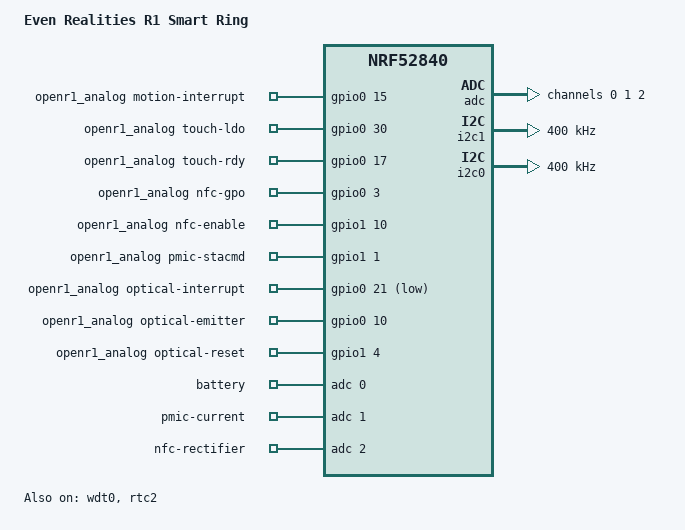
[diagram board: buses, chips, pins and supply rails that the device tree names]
/* SPDX-License-Identifier: Apache-2.0 */

/dts-v1/;
#include <nordic/nrf52840_qiaa.dtsi>
#include <zephyr/dt-bindings/adc/adc.h>
#include <zephyr/dt-bindings/adc/nrf-adc.h>
#include <zephyr/dt-bindings/gpio/gpio.h>
#include <zephyr/dt-bindings/i2c/i2c.h>
#include "openr1_nrf52840-pinctrl.dtsi"

/ {
	model = "Even Realities R1 Smart Ring";
	compatible = "openr1,r1-nrf52840";

	chosen {
		zephyr,sram = &sram0;
		zephyr,flash = &flash0;
		zephyr,code-partition = &slot0_partition;
		zephyr,settings-partition = &settings_partition;
	};

	aliases {
		watchdog0 = &wdt0;
	};

	openr1_analog: openr1_motion: openr1_touch: openr1_nfc: openr1_power: openr1_optical: zephyr,user {
		io-channels = <&adc 0>, <&adc 1>, <&adc 2>;
		io-channel-names = "battery", "pmic-current", "nfc-rectifier";
		motion-bus = <&i2c1>;
		motion-interrupt-gpios = <&gpio0 15 GPIO_ACTIVE_HIGH>;
		touch-bus = <&i2c0>;
		touch-ldo-gpios = <&gpio0 30 GPIO_ACTIVE_HIGH>;
		touch-rdy-gpios = <&gpio0 17 GPIO_ACTIVE_HIGH>;
		nfc-bus = <&i2c1>;
		nfc-gpo-gpios = <&gpio0 3 GPIO_ACTIVE_HIGH>;
		nfc-enable-gpios = <&gpio1 10 GPIO_ACTIVE_HIGH>;
		pmic-stacmd-gpios = <&gpio1 1 GPIO_ACTIVE_HIGH>;
		optical-interrupt-gpios = <&gpio0 21 GPIO_ACTIVE_LOW>;
		optical-emitter-gpios = <&gpio0 10 GPIO_ACTIVE_HIGH>;
		optical-reset-gpios = <&gpio1 4 GPIO_ACTIVE_HIGH>;
	};
};
&uicr {
	gpio-as-nreset;
};

&gpiote {
	status = "okay";
};

&wdt0 {
	status = "okay";
};

/* RTC0 is owned by the Bluetooth controller and RTC1 by the Zephyr system
 * clock. The recovered `sys rtc` service uses the remaining RTC2 at 8 Hz. */
&rtc2 {
	status = "okay";
	prescaler = <4095>;
	interrupts = <36 6>;
};

&gpio0 {
	status = "okay";
};

&gpio1 {
	status = "okay";
};

&adc {
	status = "okay";
	#address-cells = <1>;
	#size-cells = <0>;

	channel@0 {
		reg = <0>;
		zephyr,gain = "ADC_GAIN_1_2";
		zephyr,reference = "ADC_REF_INTERNAL";
		zephyr,acquisition-time = <ADC_ACQ_TIME(ADC_ACQ_TIME_MICROSECONDS, 40)>;
		zephyr,input-positive = <NRF_SAADC_AIN5>; /* P0.29: battery */
		zephyr,resolution = <12>;
		zephyr,oversampling = <0>;
	};

	channel@1 {
		reg = <1>;
		zephyr,gain = "ADC_GAIN_1_2";
		zephyr,reference = "ADC_REF_INTERNAL";
		zephyr,acquisition-time = <ADC_ACQ_TIME(ADC_ACQ_TIME_MICROSECONDS, 40)>;
		zephyr,input-positive = <NRF_SAADC_AIN3>; /* P0.05: PMIC current */
		zephyr,resolution = <12>;
		zephyr,oversampling = <0>;
	};

	channel@2 {
		reg = <2>;
		zephyr,gain = "ADC_GAIN_1_6";
		zephyr,reference = "ADC_REF_INTERNAL";
		zephyr,acquisition-time = <ADC_ACQ_TIME(ADC_ACQ_TIME_MICROSECONDS, 10)>;
		zephyr,input-positive = <NRF_SAADC_AIN2>; /* P0.04: NFC rectifier */
		zephyr,resolution = <12>;
		zephyr,oversampling = <0>;
	};
};

&i2c1 {
	compatible = "nordic,nrf-twim";
	status = "okay";
	clock-frequency = <I2C_BITRATE_FAST>;
	pinctrl-0 = <&i2c1_default>;
	pinctrl-1 = <&i2c1_sleep>;
	pinctrl-names = "default", "sleep";
};

&i2c0 {
	compatible = "nordic,nrf-twim";
	status = "okay";
	clock-frequency = <I2C_BITRATE_FAST>;
	pinctrl-0 = <&i2c0_default>;
	pinctrl-1 = <&i2c0_sleep>;
	pinctrl-names = "default", "sleep";
};

&flash0 {
	partitions {
		compatible = "fixed-partitions";
		#address-cells = <1>;
		#size-cells = <1>;

		boot_partition: partition@0 {
			label = "mcuboot";
			reg = <0x00000000 0x00027000>;
		};

		slot0_partition: partition@27000 {
			label = "image-0";
			reg = <0x00027000 0x000aa000>;
		};

		settings_partition: partition@d1000 {
			label = "openr1-settings";
			reg = <0x000d1000 0x00003000>;
		};

		openr1_data_partition: partition@d4000 {
			label = "openr1-data";
			reg = <0x000d4000 0x00024000>;
		};

		migration_reserve_partition: partition@f8000 {
			label = "retail-boot-migration-reserve";
			reg = <0x000f8000 0x00008000>;
		};
	};
};
